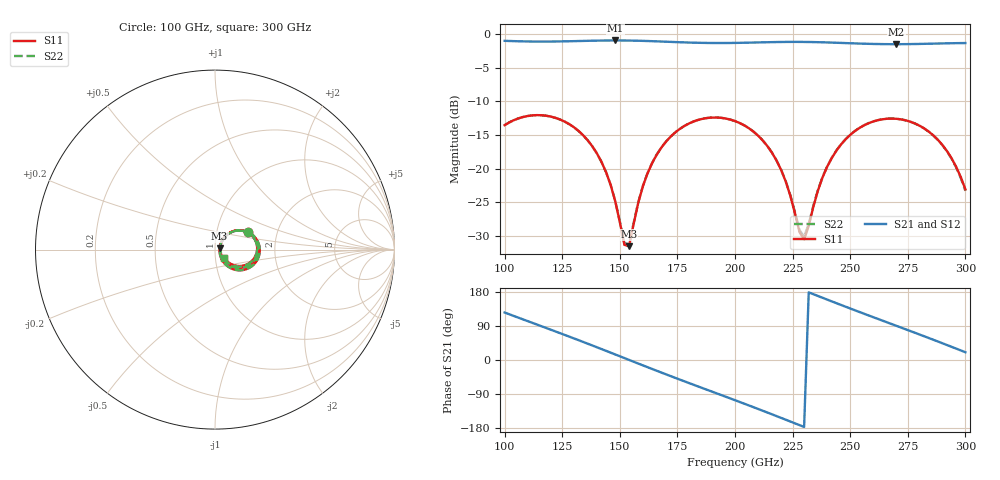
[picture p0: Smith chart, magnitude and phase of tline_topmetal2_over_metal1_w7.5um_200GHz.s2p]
#  GHZ S DB R 50
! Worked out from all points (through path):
!   101 points, 100 GHz to 300 GHz, reference 50 ohm
!   highest |S21| = -0.97 dB at 148 GHz (marker M1); lowest = -1.5 dB at 270 GHz (marker M2)
!   group delay of S21, straight-line fit = 6.47 ps
!   lowest |S11| = -31.5 dB at 154 GHz (marker M3), VSWR 1.05, Z = 52.6 + j0.839 ohm
!   |S11| at or under -10 dB: start of sweep to end of sweep
!   |S22| runs from -31.2 to -12.1 dB; largest |S21 - S12| = 9.8e-14
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100  -13.55 27.5  -1.02 125.3  -1.02 125.3  -13.55 27.6
118  -12.14 -8.8  -1.13 84.6  -1.13 84.6  -12.15 -8.8
134  -15.01 -40.5  -1.04 47.9  -1.04 47.9  -15.02 -40.4
142  -18.96 -53.6  -0.98 29.0  -0.98 29.0  -18.96 -53.2
148  -24.82 -54.2  -0.97 14.7  -0.97 14.7  -24.78 -53.5
152  -31.32 -22.9  -0.97 5.1  -0.97 5.1  -31.08 -22.0
154  -31.52 17.5  -0.98 0.3  -0.98 0.3  -31.25 16.9
160  -22.64 53.5  -1.03 -14.1  -1.03 -14.1  -22.60 52.8
168  -16.89 45.4  -1.12 -33.0  -1.12 -33.0  -16.88 45.0
184  -12.77 15.3  -1.31 -69.8  -1.31 -69.8  -12.76 15.1
200  -12.94 -16.4  -1.33 -106.1  -1.33 -106.1  -12.94 -16.5
210  -15.10 -35.4  -1.26 -129.1  -1.26 -129.1  -15.09 -35.4
218  -18.78 -47.6  -1.20 -148.0  -1.20 -148.0  -18.76 -47.4
230  -30.53 7.4  -1.19 -176.7  -1.19 -176.7  -30.14 6.8
234  -25.67 47.2  -1.21 173.7  -1.21 173.7  -25.52 45.6
240  -19.72 51.9  -1.26 159.4  -1.26 159.4  -19.68 50.7
248  -15.64 40.8  -1.36 140.6  -1.36 140.6  -15.63 39.9
258  -13.25 22.4  -1.47 117.6  -1.47 117.6  -13.24 21.5
268  -12.57 3.1  -1.52 94.9  -1.52 94.9  -12.57 2.1
270  -12.60 -0.8  -1.52 90.3  -1.52 90.3  -12.60 -1.8
288  -15.70 -33.9  -1.42 48.9  -1.42 48.9  -15.72 -35.5
300  -23.08 -41.5  -1.35 20.5  -1.35 20.5  -23.30 -44.7
